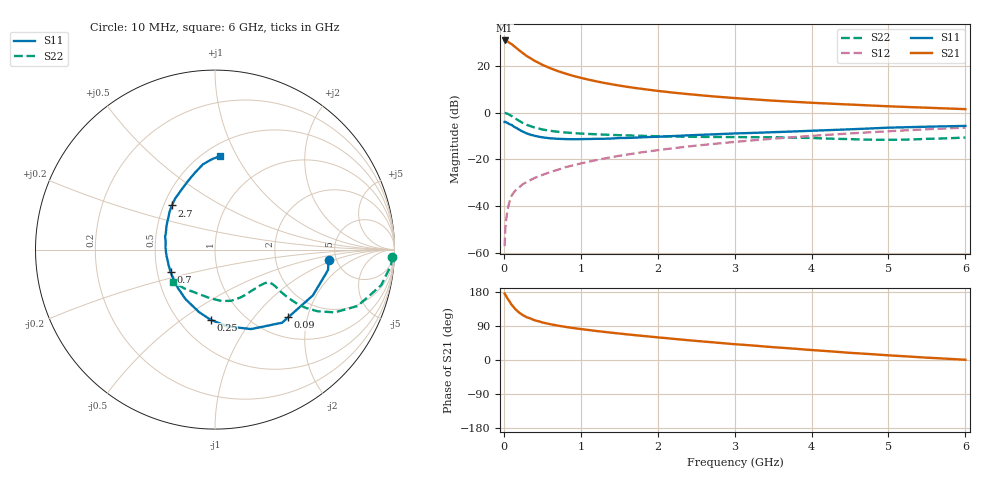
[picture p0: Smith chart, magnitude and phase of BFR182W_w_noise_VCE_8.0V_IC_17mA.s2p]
! (c) 2017  Infineon Technologies AG, Munich
! Infineon Technologies  Discrete & RF Semiconductors
! BFR182W
! VCE =  8.0 V,  IC =  17 mA
! Common Emitter S-Parameters:  Jan 2017
# GHz  S  MA  R  50
!  f  S11  S21  S12  S22
! GHz  MAG  ANG  MAG  ANG  MAG  ANG  MAG  ANG
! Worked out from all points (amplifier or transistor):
!   77 points, 10 MHz to 6 GHz, reference 50 ohm
!   highest |S21| = 30.9 dB at 10 MHz (marker M1)
!   |S21| within 3 dB of that: start of sweep to 154.7 MHz
!   unconditionally stable (mu >= 1): 887.7 MHz to 2.417 GHz
!   at 130 MHz: K = 0.38, MSG = 31.3 dB, |S12| = -34.1 dB
!   at 2.2 GHz: K = 1.01, MAG = 11.2 dB, |S12| = -15.2 dB
!   at 6 GHz: K = 0.86, MSG = 4.0 dB, |S12| = -6.4 dB
!   lowest NFmin = 1.32 dB at 450 MHz
!   S11 on the Smith chart (normalised r, x): 10 MHz: 4.32, -0.80; 90 MHz: 1.40, -1.53; 250 MHz: 0.70, -0.65; 700 MHz: 0.59, -0.16; 2.7 GHz: 0.55, +0.31; 6 GHz: 0.60, +0.86
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0.01  0.635 -5.0  35.08 175.3  0.0014 92.9  0.9887 -2.3
0.02  0.6399 -10.2  34.98 172.1  0.0034 97.0  0.9843 -5.1
0.05  0.602 -25.1  33.29 161.5  0.0086 79.9  0.9471 -12.1
0.09  0.5555 -42.8  29.99 149.4  0.0151 74.8  0.8706 -19.5
0.1  0.5529 -47.5  29.4 146.0  0.0167 74.1  0.854 -21.6
0.15  0.4858 -65.7  25.21 134.0  0.0217 66.8  0.7521 -27.7
0.2  0.4327 -81.0  21.55 125.0  0.0255 64.8  0.6672 -31.0
0.25  0.3922 -93.5  18.63 117.9  0.0299 63.2  0.6014 -32.7
0.3  0.3594 -104.3  16.23 112.7  0.033 63.4  0.5491 -33.4
0.4  0.3213 -120.7  12.87 104.8  0.0402 64.9  0.4811 -33.3
0.5  0.2978 -133.8  10.58 99.2  0.0467 66.6  0.4383 -32.7
0.6  0.2839 -144.4  8.993 94.6  0.0536 66.8  0.4104 -31.9
0.7  0.277 -153.3  7.785 90.8  0.0601 68.7  0.3917 -31.3
0.9  0.2708 -167.2  6.142 84.4  0.0749 69.1  0.3672 -31.0
1.1  0.274 -178.5  5.097 79.2  0.0893 69.4  0.3518 -31.5
1.5  0.2873 165.4  3.806 69.9  0.1197 69.3  0.3312 -34.9
2.1  0.3113 147.5  2.809 57.9  0.1657 66.5  0.3117 -44.2
2.7  0.3436 134.3  2.251 47.0  0.2131 62.7  0.3032 -56.5
3.1  0.3642 126.2  2.005 40.3  0.2453 59.8  0.3006 -64.6
4.1  0.4169 109.9  1.603 24.9  0.3276 51.6  0.2842 -85.2
5.1  0.4833 97.0  1.352 11.1  0.4093 42.2  0.2641 -115.2
6  0.5226 86.9  1.193 0.6  0.4799 33.3  0.2947 -142.5
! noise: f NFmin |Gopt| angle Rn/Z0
0.45  1.32  0.06  165  0.15
0.9  1.38  0.07  166  0.15
1.9  1.89  0.25  -146  0.15
2.4  2.15  0.25  -131  0.24
